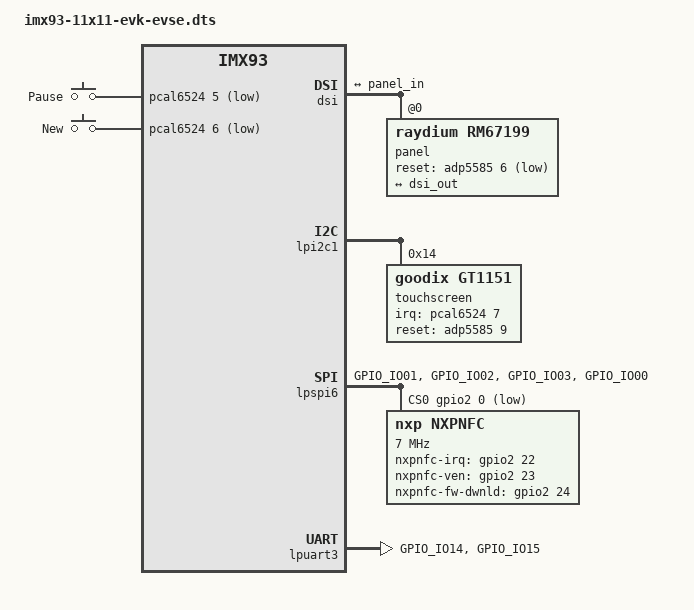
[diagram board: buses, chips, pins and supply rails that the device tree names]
// SPDX-License-Identifier: (GPL-2.0+ OR MIT)
/*
 * Copyright 2023 NXP
 */

/dts-v1/;

#include "imx93-11x11-evk.dts"

/delete-node/ &dsi_to_adv7535;
/delete-node/ &adv7535_to_dsi;

/ {
        sw_keys {
                compatible = "gpio-keys";

                btn1: pause {
                        label = "Pause";
                        gpios = <&pcal6524 5 GPIO_ACTIVE_LOW>;
                        linux,code = <KEY_PAUSE>;
                        interrupt-parent = <&pcal6524>;
                        interrupts = <5 IRQ_TYPE_LEVEL_LOW>;
                };

                btn2: new {
                        label = "New";
                        gpios = <&pcal6524 6 GPIO_ACTIVE_LOW>;
                        linux,code = <KEY_NEW>;
                        interrupt-parent = <&pcal6524>;
                        interrupts = <6 IRQ_TYPE_LEVEL_LOW>;
                };
        };
};

&adv7535 {
	status = "disabled";
};

&dsi {
	#address-cells = <1>;
	#size-cells = <0>;

	panel@0 {
		compatible = "raydium,rm67199";
		reg = <0>;
		reset-gpio = <&adp5585 6 GPIO_ACTIVE_LOW>;
		dsi-lanes = <4>;
		video-mode = <2>;	/* 0: burst mode
					 * 1: non-burst mode with sync event
					 * 2: non-burst mode with sync pulse
					 */
		width-mm = <68>;
		height-mm = <121>;
		status = "okay";

		port {
			panel_in: endpoint {
				remote-endpoint = <&dsi_out>;
			};
		};
	};

	ports {
		port@1 {
			reg = <1>;

			dsi_out: endpoint {
				remote-endpoint = <&panel_in>;
			};
		};
	};
};

&lcdif {
	assigned-clock-rates = <484000000>, <121000000>, <400000000>, <133333333>;
};

&lpi2c1 {
	touchscreen@14 {
		compatible = "goodix,gt1151";
		reg = <0x14>;
		interrupt-parent = <&pcal6524>;
		interrupts = <7 IRQ_TYPE_EDGE_FALLING>;
		irq-gpios = <&pcal6524 7 GPIO_ACTIVE_HIGH>;
		reset-gpios = <&adp5585 9 GPIO_ACTIVE_HIGH>;
		edge-failling-trigger;
		touchscreen-size-x = <1080>;
		touchscreen-size-y = <1920>;
	};
};

&lpspi6 {
	fsl,spi-num-chipselects = <1>;
	pinctrl-names = "default", "sleep";
	pinctrl-0 = <&pinctrl_lpspi6 &pinctrl_lpspi6_cs>;
	pinctrl-1 = <&pinctrl_lpspi6 &pinctrl_lpspi6_cs>;
	cs-gpios = <&gpio2 0 GPIO_ACTIVE_LOW>;
	status = "okay";

	nxpnfc: nxpnfc@0 {
		compatible = "nxp,nxpnfc";
		reg = <0>;
		nxp,nxpnfc-irq = <&gpio2 22 GPIO_ACTIVE_HIGH>;
		nxp,nxpnfc-ven = <&gpio2 23 GPIO_ACTIVE_HIGH>;
		nxp,nxpnfc-fw-dwnld = <&gpio2 24 GPIO_ACTIVE_HIGH>;
		spi-max-frequency = <7000000>;
	};	
};

&lpuart3 { /* Meter Board*/
	pinctrl-names = "default";
	pinctrl-0 = <&pinctrl_uart3>;
	status = "okay";
};

&xcvr {
	status = "disabled";
};

&iomuxc {
	pinctrl_lpspi6: lpspi6grp {
		fsl,pins = <
			MX93_PAD_GPIO_IO01__LPSPI6_SIN		0x3fe
			MX93_PAD_GPIO_IO02__LPSPI6_SOUT		0x3fe
			MX93_PAD_GPIO_IO03__LPSPI6_SCK		0x3fe
		>;
	};

	pinctrl_lpspi6_cs: lpspi6cs {
		fsl,pins = <
			MX93_PAD_GPIO_IO00__GPIO2_IO00		0x3fe
		>;
	};

	pinctrl_uart3: uart3grp {
		fsl,pins = <
			MX93_PAD_GPIO_IO14__LPUART3_TX		0x31e
			MX93_PAD_GPIO_IO15__LPUART3_RX		0x31e
		>;
	};
};
